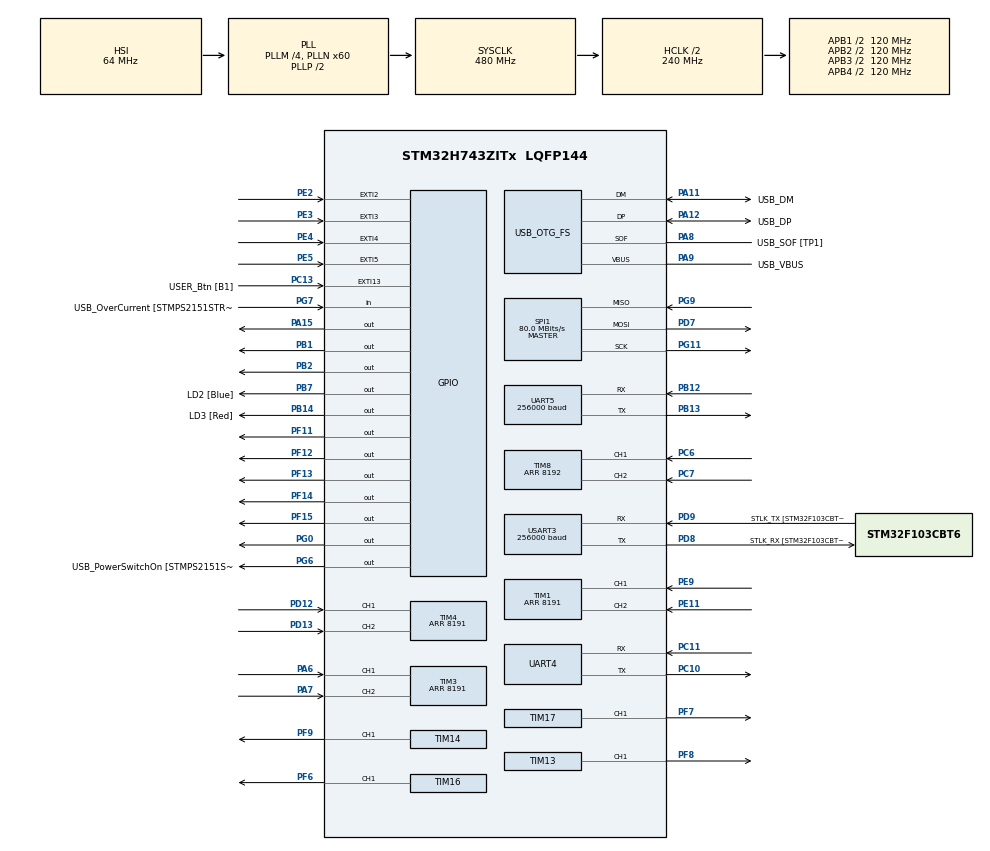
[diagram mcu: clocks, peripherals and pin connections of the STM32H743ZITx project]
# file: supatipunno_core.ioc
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PD7.Mode=Full_Duplex_Master
VP_TIM17_VS_ClockSourceINT.Mode=Enable_Timer
SPI1.VirtualType=VM_MASTER
Dma.UART5_TX.5.Priority=DMA_PRIORITY_LOW
NVIC.TIM6_DAC_IRQn=true\:0\:0\:false\:false\:true\:true\:true
Dma.USART3_TX.3.MemInc=DMA_MINC_ENABLE
NVIC.DMA1_Stream2_IRQn=true\:0\:0\:false\:false\:true\:false\:true
PB14.GPIO_Label=LD3 [Red]
PG6.GPIO_Label=USB_PowerSwitchOn [STMPS2151STR_EN]
PG0.Signal=GPIO_Output
Dma.UART5_TX.5.SignalID=NONE
RCC.PLLFRACN=0
PA15\ (JTDI).Signal=GPIO_Output
Dma.UART5_TX.5.FIFOMode=DMA_FIFOMODE_DISABLE
Dma.USART3_TX.3.MemDataAlignment=DMA_MDATAALIGN_BYTE
PB13.Signal=UART5_TX
RCC.SYSCLKSource=RCC_SYSCLKSOURCE_PLLCLK
Dma.UART5_RX.4.SyncRequestNumber=1
USART3.VirtualMode-Asynchronous=VM_ASYNC
Dma.UART5_RX.4.MemDataAlignment=DMA_MDATAALIGN_BYTE
Dma.USART3_RX.2.Priority=DMA_PRIORITY_LOW
USART3.BaudRate=256000
PF7.Signal=S_TIM17_CH1
SH.S_TIM14_CH1.0=TIM14_CH1,PWM Generation1 CH1
SPI1.Direction=SPI_DIRECTION_2LINES
RCC.APB2TimFreq_Value=216000000
PC7.Signal=S_TIM8_CH2
SPI1.CalculateBaudRate=80.0 MBits/s
PD8.Signal=USART3_TX
PE5.Signal=GPXTI5
Dma.UART4_TX.1.FIFOMode=DMA_FIFOMODE_DISABLE
PB2.Signal=GPIO_Output
TIM17.Channel=TIM_CHANNEL_1
RCC.DIVM2=4
RCC.DIVM1=4
PE9.Signal=S_TIM1_CH1
Dma.UART4_RX.0.SignalID=NONE
Dma.UART5_RX.4.Direction=DMA_PERIPH_TO_MEMORY
Dma.UART5_TX.5.Instance=DMA1_Stream1
Dma.UART5_RX.4.SyncPolarity=HAL_DMAMUX_SYNC_NO_EVENT
SPI1.DataSize=SPI_DATASIZE_8BIT
SH.S_TIM4_CH2.0=TIM4_CH2,Encoder_Interface
PE2.Signal=GPXTI2
PA8.Signal=USB_OTG_FS_SOF
Dma.UART4_RX.0.PeriphDataAlignment=DMA_PDATAALIGN_BYTE
TIM4.Period=8191
Dma.UART5_TX.5.EventEnable=DISABLE
Mcu.Package=LQFP144
PB1.Signal=GPIO_Output
Dma.USART3_RX.2.SignalID=NONE
RCC.PLL3FRACN=0
PD12.Signal=S_TIM4_CH1
PA10.Signal=USB_OTG_FS_ID
PC11.Mode=Asynchronous
PC14-OSC32_IN\ (OSC32_IN).Mode=LSE-External-Oscillator
RCC.APB2CLKDivider=RCC_HCLK_DIV2
NVIC.EXTI2_IRQn=true\:0\:0\:false\:false\:true\:true\:true
SH.S_TIM4_CH1.0=TIM4_CH1,Encoder_Interface
RCC.APB4Freq_Value=120000000
PF14.Signal=GPIO_Output
Dma.UART5_RX.4.Polarity=HAL_DMAMUX_REQ_GEN_RISING
RCC.APB1TimFreq_Value=108000000
USART3.DataInvertParam=ADVFEATURE_DATAINV_DISABLE
UART5.BaudRate=256000
TIM1.Period=8191
PB13.Mode=Asynchronous
VP_TIM14_VS_ClockSourceINT.Mode=Enable_Timer
TIM16.Prescaler=119
PH0-OSC_IN\ (PH0).Mode=HSE-External-Clock-Source
Dma.UART4_RX.0.MemInc=DMA_MINC_ENABLE
Dma.UART4_RX.0.SyncRequestNumber=1
NVIC.EXTI4_IRQn=true\:0\:0\:false\:false\:true\:true\:true
RCC.DIVQ2=6
RCC.DIVQ1=6
PD9.GPIO_Label=STLK_TX [STM32F103CBT6_PA2]
Dma.USART3_TX.3.SyncEnable=DISABLE
Dma.UART4_TX.1.SyncPolarity=HAL_DMAMUX_SYNC_NO_EVENT
PG9.Signal=SPI1_MISO
PA9.GPIO_Label=USB_VBUS
PC13.Signal=GPXTI13
Dma.UART4_RX.0.Mode=DMA_CIRCULAR
Dma.UART4_RX.0.Polarity=HAL_DMAMUX_REQ_GEN_RISING
PG9.Mode=Full_Duplex_Master
PC6.Signal=S_TIM8_CH1
Dma.UART4_TX.1.RequestNumber=1
PD7.Signal=SPI1_MOSI
PA11.GPIO_Label=USB_DM
Dma.USART3_TX.3.SignalID=NONE
SH.S_TIM16_CH1.0=TIM16_CH1,PWM Generation1 CH1
RCC.DIVP2=6
VP_TIM16_VS_ClockSourceINT.Mode=Enable_Timer
Dma.UART5_RX.4.MemInc=DMA_MINC_ENABLE
RCC.APB1CLKDivider=RCC_HCLK_DIV4
SH.S_TIM8_CH2.0=TIM8_CH2,Encoder_Interface
Dma.USART3_TX.3.PeriphInc=DMA_PINC_DISABLE
Dma.USART3_RX.2.PeriphDataAlignment=DMA_PDATAALIGN_BYTE
PA8.GPIO_Label=USB_SOF [TP1]
TIM13.Channel=TIM_CHANNEL_1
Dma.UART4_TX.1.Instance=DMA1_Stream3
PE5.GPIO_ModeDefaultEXTI=GPIO_MODE_IT_FALLING
Dma.UART5_RX.4.SignalID=NONE
PA9.Signal=USB_OTG_FS_VBUS
RCC.DIVN2=60
RCC.DIVN1=60
Dma.UART4_TX.1.SyncEnable=DISABLE
Dma.UART4_RX.0.PeriphInc=DMA_PINC_DISABLE
PD8.Mode=Asynchronous
PB14.Signal=GPIO_Output
RCC.USBCLockSelection=RCC_USBCLKSOURCE_HSI48
PE2.GPIO_PuPd=GPIO_NOPULL
SH.S_TIM8_CH1.0=TIM8_CH1,Encoder_Interface
Dma.USART3_TX.3.RequestNumber=1
Dma.UART4_RX.0.SyncSignalID=NONE
Dma.UART4_RX.0.FIFOMode=DMA_FIFOMODE_DISABLE
Dma.UART4_RX.0.SyncPolarity=HAL_DMAMUX_SYNC_NO_EVENT
VP_TIM13_VS_ClockSourceINT.Mode=Enable_Timer
TIM14.Channel=TIM_CHANNEL_1
Dma.UART5_TX.5.Polarity=HAL_DMAMUX_REQ_GEN_RISING
RCC.PRESCALERUSB=RCC_USBCLKSOURCE_PLL_DIV1_5
TIM13.Prescaler=119
SPI1.Mode=SPI_MODE_MASTER
PG7.GPIO_Label=USB_OverCurrent [STMPS2151STR_FAULT]
PE3.GPIO_PuPd=GPIO_NOPULL
PF13.Signal=GPIO_Output
Dma.UART4_TX.1.SyncSignalID=NONE
TIM14.Prescaler=119
PE4.GPIO_PuPd=GPIO_NOPULL
Dma.USART3_TX.3.Mode=DMA_NORMAL
TIM8.Period=8192
PE2.PinAttribute=Free
Dma.UART5_RX.4.Priority=DMA_PRIORITY_LOW
PG11.Mode=Full_Duplex_Master
PA11.Signal=USB_OTG_FS_DM
ProjectManager.HeapSize=0x200
PF9.Signal=S_TIM14_CH1
SH.S_TIM17_CH1.0=TIM17_CH1,PWM Generation1 CH1
NVIC.PriorityGroup=NVIC_PRIORITYGROUP_4
Dma.UART4_RX.0.Instance=DMA1_Stream2
Dma.UART4_TX.1.MemDataAlignment=DMA_MDATAALIGN_BYTE
PE3.Signal=GPXTI3
PE2.GPIO_ModeDefaultEXTI=GPIO_MODE_IT_FALLING
PA8.Mode=Activate_SOF_FS
Dma.USART3_TX.3.Priority=DMA_PRIORITY_LOW
Dma.UART4_TX.1.Direction=DMA_MEMORY_TO_PERIPH
Mcu.Family=STM32H7
Dma.USART3_RX.2.SyncSignalID=NONE
NVIC.USART3_IRQn=true\:0\:0\:false\:false\:true\:true\:true
Dma.UART4_TX.1.PeriphDataAlignment=DMA_PDATAALIGN_BYTE
USART3.MSBFirstParam=ADVFEATURE_MSBFIRST_DISABLE
TIM17.Prescaler=119
RCC.CortexFreq_Value=480000000
PG6.Signal=GPIO_Output
Dma.USART3_TX.3.PeriphDataAlignment=DMA_PDATAALIGN_BYTE
RCC.HPRE=RCC_HCLK_DIV2
PH0-OSC_IN\ (PH0).Signal=RCC_OSC_IN
PC10.Signal=UART4_TX
PC15-OSC32_OUT\ (OSC32_OUT).Mode=LSE-External-Oscillator
TIM4.EncoderMode=TIM_ENCODERMODE_TI12
RCC.SYSCLKSourceVirtual=RCC_SYSCLKSOURCE_PLLCLK
TIM3.EncoderMode=TIM_ENCODERMODE_TI12
NVIC.EXTI3_IRQn=true\:0\:0\:false\:false\:true\:true\:true
TIM1.EncoderMode=TIM_ENCODERMODE_TI12
TIM8.EncoderMode=TIM_ENCODERMODE_TI12
PA11.Mode=Device_Only
RCC.PLL2FRACN=0
PC13.GPIO_Label=USER_Btn [B1]
NVIC.DMA1_Stream4_IRQn=true\:0\:0\:false\:false\:true\:false\:true
Dma.UART5_TX.5.SyncPolarity=HAL_DMAMUX_SYNC_NO_EVENT
PD9.Mode=Asynchronous
SH.S_TIM13_CH1.0=TIM13_CH1,PWM Generation1 CH1
PG11.Signal=SPI1_SCK
ProjectManager.StackSize=0x400
NVIC.UART5_IRQn=true\:0\:0\:false\:false\:true\:true\:true
VP_TIM7_VS_ClockSourceINT.Mode=Enable_Timer
PD13.Signal=S_TIM4_CH2
PA12.Signal=USB_OTG_FS_DP
Dma.USART3_TX.3.EventEnable=DISABLE
PE5.GPIO_PuPd=GPIO_NOPULL
Dma.UART4_TX.1.Polarity=HAL_DMAMUX_REQ_GEN_RISING
Dma.USART3_RX.2.PeriphInc=DMA_PINC_DISABLE
Dma.UART5_RX.4.RequestNumber=1
RCC.HCLKFreq_Value=240000000
TIM3.Period=8191
PF12.Signal=GPIO_Output
Dma.UART4_TX.1.EventEnable=DISABLE
TIM7.Period=1000
RCC.AHBFreq_Value=216000000
RCC.HSE_VALUE=48000000
Dma.UART4_RX.0.EventEnable=DISABLE
Dma.UART4_TX.1.Mode=DMA_NORMAL
Dma.UART4_RX.0.MemDataAlignment=DMA_MDATAALIGN_BYTE
RCC.PLLMUL=RCC_PLL_MUL9
Dma.USART3_TX.3.Polarity=HAL_DMAMUX_REQ_GEN_RISING
Dma.USART3_TX.3.Direction=DMA_MEMORY_TO_PERIPH
Dma.UART5_TX.5.PeriphInc=DMA_PINC_DISABLE
Dma.USART3_RX.2.SyncEnable=DISABLE
PF11.Signal=GPIO_Output
PA10.GPIO_Label=USB_ID
Dma.USART3_TX.3.SyncRequestNumber=1
USART3.FIFOMode=FIFOMODE_DISABLE
PB7.Signal=GPIO_Output
Dma.UART5_RX.4.Mode=DMA_CIRCULAR
SH.S_TIM3_CH1.0=TIM3_CH1,Encoder_Interface
TIM6.Period=1000
PE4.Signal=GPXTI4
Dma.UART5_TX.5.MemInc=DMA_MINC_ENABLE
Dma.USART3_RX.2.Polarity=HAL_DMAMUX_REQ_GEN_RISING
RCC.APB3Freq_Value=120000000
PB7.GPIO_Label=LD2 [Blue]
PA6.Signal=S_TIM3_CH1
PB12.Mode=Asynchronous
RCC.D1PPRE=RCC_APB3_DIV2
Dma.USART3_TX.3.SyncPolarity=HAL_DMAMUX_SYNC_NO_EVENT
Dma.UART4_TX.1.MemInc=DMA_MINC_ENABLE
Dma.UART4_TX.1.PeriphInc=DMA_PINC_DISABLE
Dma.USART3_RX.2.SyncRequestNumber=1
USB_OTG_FS.VirtualMode=Device_Only
PF8.Signal=S_TIM13_CH1
Dma.UART5_RX.4.SyncSignalID=NONE
Dma.Request2=USART3_RX
Dma.Request1=UART4_TX
Dma.Request4=UART5_RX
Dma.Request3=USART3_TX
Dma.Request5=UART5_TX
NVIC.DMA1_Stream0_IRQn=true\:0\:0\:false\:false\:true\:false\:true
Dma.Request0=UART4_RX
SPI1.BaudRatePrescaler=SPI_BAUDRATEPRESCALER_2
NVIC.TIM7_IRQn=true\:0\:0\:false\:false\:true\:true\:true
PE3.GPIO_ModeDefaultEXTI=GPIO_MODE_IT_FALLING
Dma.UART5_RX.4.SyncEnable=DISABLE
Dma.UART5_TX.5.Mode=DMA_NORMAL
PG7.Signal=GPIO_Input
Dma.UART5_TX.5.PeriphDataAlignment=DMA_PDATAALIGN_BYTE
Dma.USART3_RX.2.Mode=DMA_CIRCULAR
PC11.Signal=UART4_RX
TIM6.Prescaler=119
PC10.Mode=Asynchronous
VP_TIM6_VS_ClockSourceINT.Mode=Enable_Timer
PE4.GPIO_ModeDefaultEXTI=GPIO_MODE_IT_FALLING
RCC.D2PPRE2=RCC_APB2_DIV2
RCC.D2PPRE1=RCC_APB1_DIV2
Dma.UART5_TX.5.MemDataAlignment=DMA_MDATAALIGN_BYTE
PD9.Signal=USART3_RX
Dma.UART5_RX.4.EventEnable=DISABLE
NVIC.DMA1_Stream1_IRQn=true\:0\:0\:false\:false\:true\:false\:true
TIM16.Channel=TIM_CHANNEL_1
PA12.GPIO_Label=USB_DP
Dma.UART4_RX.0.SyncEnable=DISABLE
PD8.GPIO_Label=STLK_RX [STM32F103CBT6_PA3]
PA9.Mode=Activate_VBUS
Dma.UART5_TX.5.SyncSignalID=NONE
SH.S_TIM1_CH1.0=TIM1_CH1,Encoder_Interface
Dma.USART3_RX.2.MemInc=DMA_MINC_ENABLE
Dma.UART4_RX.0.Direction=DMA_PERIPH_TO_MEMORY
PF6.Signal=S_TIM16_CH1
PB3\ (JTDO/TRACESWO).Signal=UART7_RX
ProjectManager.TargetToolchain=STM32CubeIDE
PC15-OSC32_OUT\ (OSC32_OUT).Signal=RCC_OSC32_OUT
NVIC.DMA1_Stream5_IRQn=true\:0\:0\:false\:false\:true\:false\:true
Dma.USART3_RX.2.EventEnable=DISABLE
Dma.USART3_TX.3.FIFOMode=DMA_FIFOMODE_DISABLE
RCC.USBFreq_Value=48000000
PE11.Signal=S_TIM1_CH2
Dma.USART3_RX.2.Direction=DMA_PERIPH_TO_MEMORY
Dma.UART5_TX.5.SyncEnable=DISABLE
Dma.UART5_RX.4.PeriphInc=DMA_PINC_DISABLE
SH.S_TIM3_CH2.0=TIM3_CH2,Encoder_Interface
Dma.USART3_TX.3.Instance=DMA1_Stream5
TIM7.Prescaler=119
board=NUCLEO-H743ZI
Dma.UART4_TX.1.SyncRequestNumber=1
RCC.VCOOutputFreq_Value=432000000
Dma.UART4_RX.0.Priority=DMA_PRIORITY_LOW
RCC.APB2Freq_Value=120000000
Dma.UART5_TX.5.SyncRequestNumber=1
Dma.USART3_TX.3.SyncSignalID=NONE
SH.S_TIM1_CH2.0=TIM1_CH2,Encoder_Interface
RCC.ADCFreq_Value=160000000
PF15.Signal=GPIO_Output
Dma.UART5_RX.4.Instance=DMA1_Stream0
Dma.UART4_RX.0.RequestNumber=1
Mcu.Name=STM32H743ZITx
RCC.PLL3_VCI_Range-AdvancedSettings=RCC_PLL3VCIRANGE_3
RCC.48MHZClocksFreq_Value=24000000
RCC.SYSCLKFreq_VALUE=480000000
Dma.UART5_RX.4.PeriphDataAlignment=DMA_PDATAALIGN_BYTE
PA12.Mode=Device_Only
PC14-OSC32_IN\ (OSC32_IN).Signal=RCC_OSC32_IN
Dma.UART5_RX.4.FIFOMode=DMA_FIFOMODE_DISABLE
NVIC.EXTI9_5_IRQn=true\:0\:0\:false\:false\:true\:true\:true
Dma.UART4_TX.1.Priority=DMA_PRIORITY_LOW
Dma.UART5_TX.5.RequestNumber=1
Dma.USART3_RX.2.FIFOMode=DMA_FIFOMODE_DISABLE
Dma.USART3_RX.2.SyncPolarity=HAL_DMAMUX_SYNC_NO_EVENT
RCC.HSI_VALUE=64000000
RCC.PLLQ=9
Dma.USART3_RX.2.MemDataAlignment=DMA_MDATAALIGN_BYTE
PH0-OSC_IN\ (PH0).GPIO_Label=MCO
RCC.PLLM=25
RCC.PLLN=432
Dma.UART4_TX.1.SignalID=NONE
NVIC.DMA1_Stream3_IRQn=true\:0\:0\:false\:false\:true\:false\:true
RCC.D3PPRE=RCC_APB4_DIV2
Dma.USART3_RX.2.Instance=DMA1_Stream4
RCC.APB1Freq_Value=120000000
Dma.UART5_TX.5.Direction=DMA_MEMORY_TO_PERIPH
PB12.Signal=UART5_RX
PA7.Signal=S_TIM3_CH2
PB4\ (NJTRST).Signal=UART7_TX
Dma.USART3_RX.2.RequestNumber=1

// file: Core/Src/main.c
/* USER CODE BEGIN Header */
/**
  ******************************************************************************
  * @file           : main.c
  * @brief          : Main program body
  ******************************************************************************
  * @attention
  *
  * <h2><center>&copy; Copyright (c) 2021 STMicroelectronics.
  * All rights reserved.</center></h2>
  *
  * This software component is licensed by ST under BSD 3-Clause license,
  * the "License"; You may not use this file except in compliance with the
  * License. You may obtain a copy of the License at:
  *                        opensource.org/licenses/BSD-3-Clause
  *
  ******************************************************************************
  */
/* USER CODE END Header */
#include "main.h"
#include "dma.h"
#include "spi.h"
#include "tim.h"
#include "usart.h"
#include "usb_otg.h"
#include "gpio.h"

/* USER CODE BEGIN Includes */
#include "string.h"
#include "stdio.h"
/* USER CODE END Includes */

/* USER CODE BEGIN PTD */
typedef struct package{
	uint8_t head;
	uint8_t length;
	uint8_t instruction;
	uint16_t parameter[6];
	uint16_t crc;
}package_typedef;

typedef struct error_package{
	uint8_t error_type;
	uint8_t error_info;
}error_package_typedef;

typedef struct via_point{
	uint16_t joint[4];
	uint16_t Chessboard;
}via_point_typedef;

typedef struct flag{
	uint8_t home_flag;
	uint8_t status_flag;
	uint8_t feedback_flag;
	uint8_t at_viapoint_flag ;
	uint8_t firsttime;
	uint8_t controlloop;
}flag_typedef;
/* USER CODE END PTD */

/* USER CODE BEGIN PD */
#define _motor_enable 0
#define _motor_disable 1
#define _dir_motor_ccw 0
#define _dir_motor_cw 1
/* USER CODE END PD */

/* USER CODE BEGIN PV */
//system & flag
//test
float traj_T;
float traj_t;

uint8_t state = 0;
uint8_t input_package_flag = 0;
uint8_t command_finish = 0;
via_point_typedef via_point;

//communication
package_typedef process_package;
error_package_typedef error_package;
flag_typedef flag;
uint8_t input_package[17];
uint8_t output_package[50];
uint8_t package_count = 0;
uint8_t result_verify_package;

//movement
uint16_t Home_Set[4] = {0};
uint16_t Motor_Number[4] = {0,0,0,0};
uint16_t Dir_Motor[4] = {0};
uint16_t EncoderValue16[4]={0};  //J1 J2 J3 J4

//debug
uint16_t debug_count = 10;
uint16_t calculate_crc=0;
uint16_t crc_pack[10];
uint16_t count = 0;

//control

/* USER CODE END PV */

void SystemClock_Config(void);
/* USER CODE BEGIN PFP */

static void sethome();
static void Start_debug(uint16_t Parameter);
static void Update_Period(uint8_t Motor_Number[],double Freequency,float Duty_Cycle);
static uint16_t update_crc(uint16_t result, uint16_t *data_pack, uint16_t buff_size);
static uint8_t verify_package();
static void send_ack(uint8_t inst);
static void send_feedback(uint8_t inst);
static void send_status(uint8_t require_data);

static void send_error();

/* USER CODE END PFP */

int main(void)
{

  /* MCU Configuration--------------------------------------------------------*/

  /* Reset of all peripherals, Initializes the Flash interface and the Systick. */
  HAL_Init();

  /* Configure the system clock */
  SystemClock_Config();

  /* Initialize all configured peripherals */
  MX_GPIO_Init();
  MX_DMA_Init();
  MX_USART3_UART_Init();
  MX_USB_OTG_FS_PCD_Init();
  MX_SPI1_Init();
  MX_TIM1_Init();
  MX_TIM3_Init();
  MX_TIM4_Init();
  MX_TIM8_Init();
  MX_TIM13_Init();
  MX_TIM14_Init();
  MX_TIM16_Init();
  MX_TIM17_Init();
  MX_UART4_Init();
  MX_TIM6_Init();
  MX_UART5_Init();
  MX_TIM7_Init();
  /* USER CODE BEGIN 2 */

  //start PWM for motor J1 J2 J3 J4
  HAL_TIM_PWM_Start(&htim13, TIM_CHANNEL_1);
  HAL_TIM_PWM_Start(&htim14, TIM_CHANNEL_1);
  HAL_TIM_PWM_Start(&htim16, TIM_CHANNEL_1);
  HAL_TIM_PWM_Start(&htim17, TIM_CHANNEL_1);
  //start Timer For encoder J1 J2 J3 J4
  HAL_TIM_Encoder_Start(&htim1, TIM_CHANNEL_ALL);
  HAL_TIM_Encoder_Start(&htim3, TIM_CHANNEL_ALL);
  HAL_TIM_Encoder_Start(&htim4, TIM_CHANNEL_ALL);
  HAL_TIM_Encoder_Start(&htim8, TIM_CHANNEL_ALL);
  //start Timer For Control Loop
  HAL_TIM_Base_Start_IT(&htim6);
  //HAL_TIM_Base_Start(&htim7);
  //start DMA
  HAL_UART_Receive_DMA(&huart3, input_package, 17);
  HAL_UART_Receive_DMA(&huart5, input_package, 17);

  via_point.Chessboard = 1234;
  via_point.joint[0] = 123;
  via_point.joint[1] = 123;
  via_point.joint[2] = 123;
  via_point.joint[3] = 123;
  /* USER CODE END 2 */

  /* Infinite loop */
  /* USER CODE BEGIN WHILE */
  while (1)
  {
	  switch(state){
	  	  case 0:
	  		 	 break;
	  	  case 99:
			  result_verify_package = verify_package();
			  if(result_verify_package){
				  state = process_package.instruction;
			  }
			  else{
				  //send error package
				  //send_error();
				  state = 0;
			  }
			  break;
		//set home
	  	  case 1:
			  send_ack(process_package.instruction);
			  sethome();
			  if(flag.home_flag){
				  send_ack(process_package.instruction);
				  flag.home_flag = 0;
				  state = 0;
			  }
			  break;
		//status mode
	  	  case 2:
	  		  send_ack(process_package.instruction);
	  		  send_status(process_package.parameter[0]);
	  		  if(flag.status_flag){
	  			send_ack(process_package.instruction);
	  			flag.status_flag = 0;
	  			state = 0;
	  		  }
	  		  break;
	  	//jog joint
	  	  case 3:
	  		if(flag.firsttime == 0){
	  			uint8_t moving_joint = 0;
				send_ack(process_package.instruction);
				if(process_package.parameter[0] & 0b00010000){
					flag.feedback_flag = 1;
				}
				moving_joint = process_package.parameter[0] % 0b00001111;
				for(int i = 0;i<4;i++){
					if((moving_joint >> i) == 1){
						via_point.joint[i] = process_package.parameter[1];
					}
				}
				flag.firsttime = 1;
	  		}
	  		if(flag.controlloop && flag.at_viapoint_flag == 0){

	  			//position control function

	  			//fortest
	  			flag.at_viapoint_flag = 1;

				if(flag.feedback_flag && count == 1000){
					send_feedback(process_package.instruction);
					count = 0;
				}
				count++;
				flag.controlloop = 0;
	  		}
	  		if(flag.at_viapoint_flag){
	  			send_ack(process_package.instruction);
	  			flag.at_viapoint_flag = 0;
	  			flag.feedback_flag = 0;
	  			flag.firsttime = 0 ;
	  			state = 0;
	  		}
	  		break;
	  	//linear jog
	  	  case 4:
	  		if(flag.firsttime == 0){
				send_ack(process_package.instruction);
				if(process_package.parameter[0] & 0b00010000){
					flag.feedback_flag = 1;
				}
				for(int i = 0;i<4;i++){
					via_point.joint[i] = process_package.parameter[i+1];
				}
				flag.firsttime = 1;
			}
	  		if(flag.controlloop){

				//position control function

	  			//fortest
	  			flag.at_viapoint_flag = 1;

				if(flag.feedback_flag){
					send_feedback(process_package.instruction);
				}
				flag.controlloop = 0;
			}
			if(flag.at_viapoint_flag){
				send_ack(process_package.instruction);
				flag.at_viapoint_flag = 0;
				flag.feedback_flag = 0;
				flag.firsttime = 0 ;
				state = 0;
			}
	  		break;
	  	//move
	  	  case 5:
			if(flag.firsttime == 0){
				send_ack(process_package.instruction);
				if(process_package.parameter[0] & 0b00010000){
					flag.feedback_flag = 1;
				}
				for(int i = 0;i<4;i++){
					via_point.joint[i] = process_package.parameter[i+1];
				}
				flag.firsttime = 1;
			}
			if(flag.controlloop){

				//casecade control function

				//fortest
				flag.at_viapoint_flag = 1;

				if(flag.feedback_flag){
					send_feedback(process_package.instruction);
				}
				flag.controlloop = 0;
			}
			if(flag.at_viapoint_flag){
				send_ack(process_package.instruction);
				flag.at_viapoint_flag = 0;
				flag.feedback_flag = 0;
				flag.firsttime = 0 ;
				state = 0;
			}
	  		break;
	  	//trajectory
	  	  case 6:
	  		package_count = 6;
	  		state = 0;
	  		break;
	  	//gripper
	  	  case 7:
	  		package_count = 7;
	  		state = 0;
	  		break;
	  }
    /* USER CODE END WHILE */

  }
}

void SystemClock_Config(void)
{
  RCC_OscInitTypeDef RCC_OscInitStruct = {0};
  RCC_ClkInitTypeDef RCC_ClkInitStruct = {0};

  /** Supply configuration update enable
  */
  HAL_PWREx_ConfigSupply(PWR_LDO_SUPPLY);
  /** Configure the main internal regulator output voltage
  */
  __HAL_PWR_VOLTAGESCALING_CONFIG(PWR_REGULATOR_VOLTAGE_SCALE0);

  while(!__HAL_PWR_GET_FLAG(PWR_FLAG_VOSRDY)) {}
  /** Initializes the RCC Oscillators according to the specified parameters
  * in the RCC_OscInitTypeDef structure.
  */
  RCC_OscInitStruct.OscillatorType = RCC_OSCILLATORTYPE_HSI48|RCC_OSCILLATORTYPE_HSI;
  RCC_OscInitStruct.HSIState = RCC_HSI_DIV1;
  RCC_OscInitStruct.HSICalibrationValue = RCC_HSICALIBRATION_DEFAULT;
  RCC_OscInitStruct.HSI48State = RCC_HSI48_ON;
  RCC_OscInitStruct.PLL.PLLState = RCC_PLL_ON;
  RCC_OscInitStruct.PLL.PLLSource = RCC_PLLSOURCE_HSI;
  RCC_OscInitStruct.PLL.PLLM = 4;
  RCC_OscInitStruct.PLL.PLLN = 60;
  RCC_OscInitStruct.PLL.PLLP = 2;
  RCC_OscInitStruct.PLL.PLLQ = 6;
  RCC_OscInitStruct.PLL.PLLR = 2;
  RCC_OscInitStruct.PLL.PLLRGE = RCC_PLL1VCIRANGE_3;
  RCC_OscInitStruct.PLL.PLLVCOSEL = RCC_PLL1VCOWIDE;
  RCC_OscInitStruct.PLL.PLLFRACN = 0;
  if (HAL_RCC_OscConfig(&RCC_OscInitStruct) != HAL_OK)
  {
    Error_Handler();
  }
  /** Initializes the CPU, AHB and APB buses clocks
  */
  RCC_ClkInitStruct.ClockType = RCC_CLOCKTYPE_HCLK|RCC_CLOCKTYPE_SYSCLK
                              |RCC_CLOCKTYPE_PCLK1|RCC_CLOCKTYPE_PCLK2
                              |RCC_CLOCKTYPE_D3PCLK1|RCC_CLOCKTYPE_D1PCLK1;
  RCC_ClkInitStruct.SYSCLKSource = RCC_SYSCLKSOURCE_PLLCLK;
  RCC_ClkInitStruct.SYSCLKDivider = RCC_SYSCLK_DIV1;
  RCC_ClkInitStruct.AHBCLKDivider = RCC_HCLK_DIV2;
  RCC_ClkInitStruct.APB3CLKDivider = RCC_APB3_DIV2;
  RCC_ClkInitStruct.APB1CLKDivider = RCC_APB1_DIV2;
  RCC_ClkInitStruct.APB2CLKDivider = RCC_APB2_DIV2;
  RCC_ClkInitStruct.APB4CLKDivider = RCC_APB4_DIV2;

  if (HAL_RCC_ClockConfig(&RCC_ClkInitStruct, FLASH_LATENCY_4) != HAL_OK)
  {
    Error_Handler();
  }
}

/* USER CODE BEGIN 4 */

//user function
void sethome(){
	flag.home_flag = 1;
}
void Update_Period(uint8_t Motor_Number[],double Freequency,float Duty_Cycle){

	/*******************************************************************************
	 **                                                                           **
	 **    Motor_Number : index 0 -> J1 , 1 -> J2 , 2 -> J3 , 3 -> J4             **
	 **    Freequency : Freequency that calculate from control or user command    **
	 **    Duty_Cycle : Duty cycle of pulse have value between 0 - 100            **
	 **                                                                           **
	 *******************************************************************************/

	uint32_t Period = 1000000/Freequency;
	uint32_t PWM = Period * Duty_Cycle / 100;

	if(Motor_Number[0] == 1){
		TIM13->ARR = Period; //update period
		TIM13->CCR1 = PWM;   //update duty cycle

	}
	else if(Motor_Number[1] == 1){
		TIM14->ARR = Period;
		TIM14->CCR1 = PWM;

	}
	else if(Motor_Number[2] == 1){
		TIM16->ARR = Period;
		TIM16->CCR1 = PWM;

	}
	else if(Motor_Number[3] == 1){
		TIM17->ARR = Period;
		TIM17->CCR1 = PWM;
	}
}
uint16_t update_crc(uint16_t result, uint16_t *data_pack, uint16_t buff_size){
	uint16_t i, j;
	uint16_t crc_table[256] = {
	        0x0000, 0x8005, 0x800F, 0x000A, 0x801B, 0x001E, 0x0014, 0x8011,
	        0x8033, 0x0036, 0x003C, 0x8039, 0x0028, 0x802D, 0x8027, 0x0022,
	        0x8063, 0x0066, 0x006C, 0x8069, 0x0078, 0x807D, 0x8077, 0x0072,
	        0x0050, 0x8055, 0x805F, 0x005A, 0x804B, 0x004E, 0x0044, 0x8041,
	        0x80C3, 0x00C6, 0x00CC, 0x80C9, 0x00D8, 0x80DD, 0x80D7, 0x00D2,
	        0x00F0, 0x80F5, 0x80FF, 0x00FA, 0x80EB, 0x00EE, 0x00E4, 0x80E1,
	        0x00A0, 0x80A5, 0x80AF, 0x00AA, 0x80BB, 0x00BE, 0x00B4, 0x80B1,
	        0x8093, 0x0096, 0x009C, 0x8099, 0x0088, 0x808D, 0x8087, 0x0082,
	        0x8183, 0x0186, 0x018C, 0x8189, 0x0198, 0x819D, 0x8197, 0x0192,
	        0x01B0, 0x81B5, 0x81BF, 0x01BA, 0x81AB, 0x01AE, 0x01A4, 0x81A1,
	        0x01E0, 0x81E5, 0x81EF, 0x01EA, 0x81FB, 0x01FE, 0x01F4, 0x81F1,
	        0x81D3, 0x01D6, 0x01DC, 0x81D9, 0x01C8, 0x81CD, 0x81C7, 0x01C2,
	        0x0140, 0x8145, 0x814F, 0x014A, 0x815B, 0x015E, 0x0154, 0x8151,
	        0x8173, 0x0176, 0x017C, 0x8179, 0x0168, 0x816D, 0x8167, 0x0162,
	        0x8123, 0x0126, 0x012C, 0x8129, 0x0138, 0x813D, 0x8137, 0x0132,
	        0x0110, 0x8115, 0x811F, 0x011A, 0x810B, 0x010E, 0x0104, 0x8101,
	        0x8303, 0x0306, 0x030C, 0x8309, 0x0318, 0x831D, 0x8317, 0x0312,
	        0x0330, 0x8335, 0x833F, 0x033A, 0x832B, 0x032E, 0x0324, 0x8321,
	        0x0360, 0x8365, 0x836F, 0x036A, 0x837B, 0x037E, 0x0374, 0x8371,
	        0x8353, 0x0356, 0x035C, 0x8359, 0x0348, 0x834D, 0x8347, 0x0342,
	        0x03C0, 0x83C5, 0x83CF, 0x03CA, 0x83DB, 0x03DE, 0x03D4, 0x83D1,
	        0x83F3, 0x03F6, 0x03FC, 0x83F9, 0x03E8, 0x83ED, 0x83E7, 0x03E2,
	        0x83A3, 0x03A6, 0x03AC, 0x83A9, 0x03B8, 0x83BD, 0x83B7, 0x03B2,
	        0x0390, 0x8395, 0x839F, 0x039A, 0x838B, 0x038E, 0x0384, 0x8381,
	        0x0280, 0x8285, 0x828F, 0x028A, 0x829B, 0x029E, 0x0294, 0x8291,
	        0x82B3, 0x02B6, 0x02BC, 0x82B9, 0x02A8, 0x82AD, 0x82A7, 0x02A2,
	        0x82E3, 0x02E6, 0x02EC, 0x82E9, 0x02F8, 0x82FD, 0x82F7, 0x02F2,
	        0x02D0, 0x82D5, 0x82DF, 0x02DA, 0x82CB, 0x02CE, 0x02C4, 0x82C1,
	        0x8243, 0x0246, 0x024C, 0x8249, 0x0258, 0x825D, 0x8257, 0x0252,
	        0x0270, 0x8275, 0x827F, 0x027A, 0x826B, 0x026E, 0x0264, 0x8261,
	        0x0220, 0x8225, 0x822F, 0x022A, 0x823B, 0x023E, 0x0234, 0x8231,
	        0x8213, 0x0216, 0x021C, 0x8219, 0x0208, 0x820D, 0x8207, 0x0202
	    };

	    for(j = 0; j <= buff_size-1; j++)
	    {
	        i = ((uint16_t)(result >> 8) ^ data_pack[j]) & 0xFF;
	        result = (result << 8) ^ crc_table[i];
	    }

	    return result;
}
uint8_t verify_package(){
	memset(process_package.parameter,0,sizeof(process_package.parameter));
	//debug mode
	if(process_package.instruction == 0x02){
		process_package.parameter[0] = input_package[3];
		process_package.crc = input_package[15] << 8 | input_package[16];
	}
	//set home
	else if(process_package.instruction == 0x01){
		process_package.crc = input_package[15] << 8 | input_package[16];
	}
	//jog joint
	else if(process_package.instruction == 0x03){
		process_package.parameter[0] = input_package[3];
		process_package.parameter[1] = input_package[4] << 8 | input_package[5];
		process_package.crc = input_package[15] << 8 | input_package[16];
	}
	//Cartesian jog, Move
	else if(process_package.instruction == 0x04 || process_package.instruction == 0x05){
		uint8_t index =1;
		process_package.parameter[0] = input_package[3];
		for(int i = 4;i <=10 ;i+=2){
			process_package.parameter[index] = input_package[i] << 8 | input_package[i+1];
			index++;
		}
		process_package.crc = input_package[15] << 8 | input_package[16];
	}
	//Trajectory move
	else if(process_package.instruction == 0x06){
		uint8_t index =0;
		for(int i = 3;i <=13 ;i+=2){
			process_package.parameter[index] = input_package[i] << 8 | input_package[i+1];
			index++;
		}
		process_package.crc = input_package[15] << 8 | input_package[16];
	}
	//crc check
	crc_pack[0] = process_package.head;
	crc_pack[1] = process_package.length;
	crc_pack[2] = process_package.instruction;
	for(int i = 3;i <=8 ;i++){
		crc_pack[i] = process_package.parameter[i-3];
	}
	calculate_crc = update_crc(0,crc_pack,sizeof(crc_pack)/2);
	if(process_package.crc == calculate_crc){
	  return 1;
	}
	else{
		error_package.error_type = 0x01;
		error_package.error_info = 0x01;
		return 0;
	}
}

void send_ack(uint8_t inst){
	memset(crc_pack,0,sizeof(crc_pack));
	memset(output_package,0,sizeof(output_package));
	output_package[0] = 0xFF;
	output_package[1] = 4;
	output_package[2] = (0x0A << 4) | inst;
	for(int  i = 0;i <= 3;i++){
			crc_pack[i] = output_package[i];
	}
	calculate_crc = update_crc(0,crc_pack,sizeof(crc_pack)/2);
	output_package[3] = calculate_crc / 256;
	output_package[4] = calculate_crc % 256;
	HAL_UART_Transmit(&huart3, output_package, 5,100);
}
void send_status(uint8_t require_data){
	uint8_t count = 2;
	memset(crc_pack,0,sizeof(crc_pack));
	memset(output_package,0,sizeof(output_package));

	output_package[0] = 0xFF;
	output_package[2] = 2;
	crc_pack[0] = 0xFF;
	crc_pack[2] = 1;

	if(((require_data & 128) >> 7) == 1){
		output_package[3] = via_point.Chessboard / 256;
		output_package[4] = via_point.Chessboard % 256;
		crc_pack[3] = via_point.Chessboard;
		count+=2;
	}
	if(((require_data & 64) >> 6) == 1){
		output_package[5] = via_point.joint[0] / 256;
		output_package[6] = via_point.joint[0] % 256;
		crc_pack[4] = via_point.joint[0];
		count+=2;
	}
	if(((require_data & 32) >> 5) == 1){
		output_package[7] = via_point.joint[1] / 256;
		output_package[8] = via_point.joint[1] % 256;
		crc_pack[5] = via_point.joint[1];
		count+=2;
	}
	if(((require_data & 16) >> 4) == 1){
		output_package[9] = via_point.joint[2] / 256;
		output_package[10] = via_point.joint[2] % 256;
		crc_pack[6] = via_point.joint[2];
		count+=2;
	}
	if(((require_data & 8) >> 3) == 1){
		output_package[11] = via_point.joint[3] / 256;
		output_package[12] = via_point.joint[3] % 256;
		crc_pack[7] = via_point.joint[3];
		count+=2;
	}
	if(((require_data & 4) >> 2) == 1){
		output_package[13] = 0 / 256;
		output_package[14] = 0 % 256;
		crc_pack[8] = 0;
		count+=2;
	}
	if(((require_data & 2) >> 1) == 1){
		output_package[15] = 0 / 256;
		output_package[16] = 0 % 256;
		crc_pack[9] = via_point.Chessboard;
		count+=2;
	}
	if((require_data & 1) == 1){
		output_package[17] = 0 / 256;
		output_package[18] = 0 % 256;
		crc_pack[10] = via_point.Chessboard;
		count+=2;
	}

	output_package[1] = count+2;
	crc_pack[1] = output_package[1];
	calculate_crc = update_crc(0, crc_pack, sizeof(crc_pack));
	output_package[count+1] = calculate_crc / 256;
	output_package[count+2] = calculate_crc % 256;
	HAL_UART_Transmit(&huart3, output_package, output_package[1]+1,100);
	flag.status_flag = 1;
}
void send_feedback(uint8_t inst){
	output_package[0] = 0xFF;
	output_package[2] = inst;
	crc_pack[0] = 0xFF;
	crc_pack[2] = inst;

	if(inst ==3 || inst == 4 || inst == 5){
		output_package[3] = TIM1->CNT / 256;
		output_package[4] = TIM1->CNT % 256;
		output_package[5] = TIM3->CNT / 256;
		output_package[6] = TIM3->CNT % 256;
		output_package[7] = TIM4->CNT / 256;
		output_package[8] = TIM4->CNT % 256;
		output_package[9] = TIM8->CNT / 256;
		output_package[10] = TIM8->CNT % 256;
		crc_pack[3] = TIM1->CNT;
		crc_pack[4] = TIM3->CNT;
		crc_pack[5] = TIM4->CNT;
		crc_pack[6] = TIM8->CNT;
		output_package[1] = 12;
		crc_pack[1] = output_package[1];
		calculate_crc = update_crc(0, crc_pack, sizeof(crc_pack));
		output_package[11] = calculate_crc / 256;
		output_package[12] = calculate_crc % 256;
		HAL_UART_Transmit(&huart3, output_package, 13,100);
		flag.feedback_flag = 1;
	}
	else if(inst == 6){
		output_package[3] = (uint8_t)(traj_T);
		output_package[4] = (uint8_t)(traj_t * 1000);
		output_package[5] = via_point.joint[0] / 256;
		output_package[6] = via_point.joint[0] % 256;
		output_package[7] = via_point.joint[1] / 256;
		output_package[8] = via_point.joint[1] % 256;
		output_package[9] = via_point.joint[2] / 256;
		output_package[10] = via_point.joint[2] % 256;
		output_package[11] = via_point.joint[3] / 256;
		output_package[12] = via_point.joint[3] % 256;
		crc_pack[3] = output_package[3];
		crc_pack[4] = output_package[4];
		crc_pack[5] = via_point.joint[0];
		crc_pack[6] = via_point.joint[1];
		crc_pack[7] = via_point.joint[2];
		crc_pack[8] = via_point.joint[3];
		output_package[1] = 14;
		crc_pack[1] = output_package[1];
		calculate_crc = update_crc(0, crc_pack, sizeof(crc_pack));
		output_package[13] = calculate_crc / 256;
		output_package[14] = calculate_crc % 256;
		HAL_UART_Transmit(&huart3, output_package, 15,100);
		flag.feedback_flag = 1;
	}
}
void send_error(){
	memset(crc_pack,0,sizeof(crc_pack));
	memset(output_package,0,sizeof(output_package));
	output_package[0] = 0xFF;
	output_package[1] = 5;
	output_package[2] = 0xEE;
	output_package[3] = (error_package.error_type << 4) | error_package.error_info;
	for(int  i = 0;i <= strlen(output_package);i++){
		crc_pack[i] = output_package[i];
	}
	calculate_crc = update_crc(0,crc_pack,sizeof(crc_pack)/2);
	output_package[4] = calculate_crc / 256;
	output_package[5] = calculate_crc % 256;
	HAL_UART_Transmit_DMA(&huart3, output_package, strlen(output_package));
}

//callback function

void HAL_GPIO_EXTI_Callback(uint16_t GPIO_Pin){
	if(GPIO_Pin == GPIO_PIN_2){
		Home_Set[0] ^= 1;
	}
	else if(GPIO_Pin == GPIO_PIN_3){
		Home_Set[1] ^= 1;
	}
	else if(GPIO_Pin == GPIO_PIN_4){
		Home_Set[2] ^= 1;
	}
	else if(GPIO_Pin == GPIO_PIN_5){
		Home_Set[3] ^= 1;
	}

}

void HAL_UART_RxCpltCallback(UART_HandleTypeDef *huart){

	if(huart == &huart3){
		if(state == 0){
			process_package.head = input_package[0];
			process_package.length = input_package[1];
			process_package.instruction = input_package[2];
			state = 99;
		}
	}
	else if(huart == &huart5){
		if(state == 0){
			process_package.head = input_package[0];
			process_package.length = input_package[1];
			process_package.instruction = input_package[2];
			state = 99;
		}

	}
}

void HAL_TIM_PeriodElapsedCallback(TIM_HandleTypeDef* htim)
{
	if(htim == &htim6){
		//debug_count += 1;
		flag.controlloop = 1;
		//update variable for do control loop
	}
	else{
		debug_count = 99;
	}
}

/* USER CODE END 4 */

void Error_Handler(void)
{
  __disable_irq();
  while (1)
  {
  }
}

/************************ (C) COPYRIGHT STMicroelectronics *****END OF FILE****/
